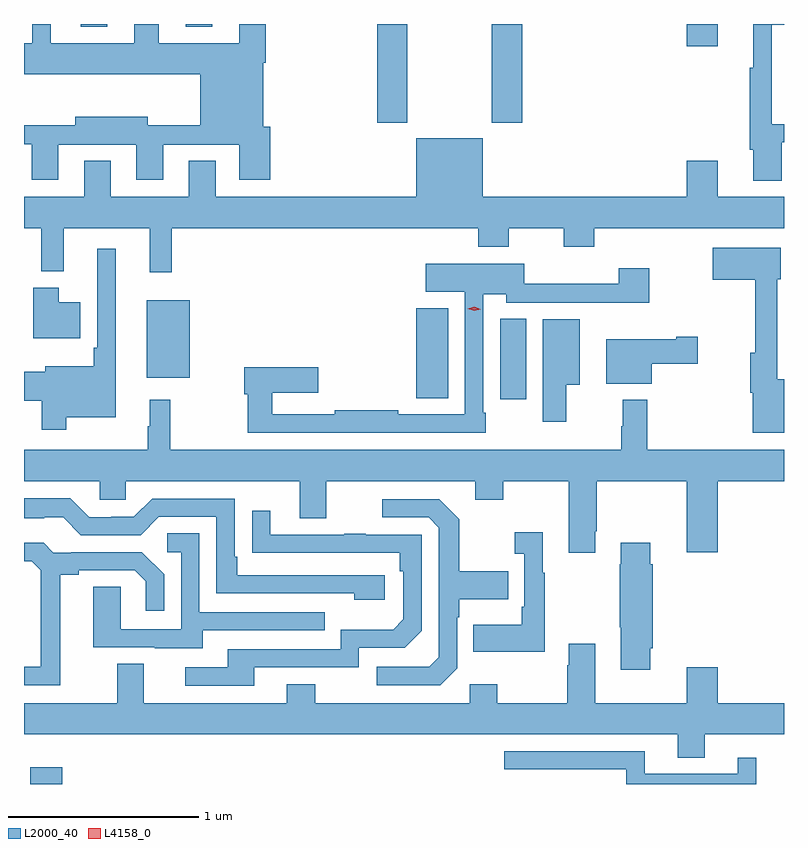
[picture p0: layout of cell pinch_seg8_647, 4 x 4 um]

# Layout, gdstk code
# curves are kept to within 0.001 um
import gdstk
lib = gdstk.Library(unit=1e-6, precision=1e-09)
def R(c, l, rs):  # rectangles x0, y0, x1, y1
    for r in rs: c.add(gdstk.rectangle(r[:2], r[2:], *l))
def P(c, l, *ps):  # polygons
    for p in ps: c.add(gdstk.Polygon(p, *l))
L2000_40 = (2000, 40)
L4158_0 = (4158, 0)

pinch_seg8_647 = lib.new_cell('pinch_seg8_647')
R(pinch_seg8_647, L2000_40, [(245.471,1106.914,245.639,1107.001), (247.943,1108.938,248.08,1109.363), (247.502,1108.945,247.669,1109.419), (246.083,1109.051,246.31,1109.461), (247.295,1110.393,247.455,1110.914), (247.9,1110.393,248.06,1110.914), (248.924,1110.798,249.088,1110.914), (245.735,1110.899,245.875,1110.914), (246.287,1110.899,246.427,1110.914)])
P(pinch_seg8_647, L2000_40, [(249.424,1110.291),(249.437,1110.291),(249.437,1110.387),(249.372,1110.387),(249.372,1110.909),(249.437,1110.909),(249.437,1110.914),(249.275,1110.914),(249.275,1110.684),(249.256,1110.684),(249.256,1110.252),(249.275,1110.252),(249.275,1110.09),(249.424,1110.09)],
  [(245.617,1110.279),(245.823,1110.279),(245.823,1110.278),(246.029,1110.278),(246.029,1110.093),(246.169,1110.093),(246.169,1110.279),(246.569,1110.279),(246.569,1110.093),(246.734,1110.093),(246.734,1110.372),(246.697,1110.372),(246.697,1110.71),(246.71,1110.71),(246.71,1110.914),(246.569,1110.914),(246.569,1110.814),(246.145,1110.814),(246.145,1110.914),(246.017,1110.914),(246.017,1110.814),(245.578,1110.814),(245.578,1110.914),(245.48,1110.914),(245.48,1110.814),(245.437,1110.814),(245.437,1110.65),(246.365,1110.65),(246.365,1110.38),(246.088,1110.38),(246.088,1110.427),(245.708,1110.427),(245.708,1110.38),(245.437,1110.38),(245.437,1110.282),(245.477,1110.282),(245.477,1110.093),(245.617,1110.093)],
  [(246.215,1109.84),(247.829,1109.84),(247.829,1109.741),(247.989,1109.741),(247.989,1109.84),(248.278,1109.84),(248.278,1109.741),(248.438,1109.741),(248.438,1109.84),(249.437,1109.84),(249.437,1110.004),(249.088,1110.004),(249.088,1110.193),(248.924,1110.193),(248.924,1110.004),(247.852,1110.004),(247.852,1110.313),(247.502,1110.313),(247.502,1110.004),(246.445,1110.004),(246.445,1110.194),(246.305,1110.194),(246.305,1110.004),(245.893,1110.004),(245.893,1110.193),(245.753,1110.193),(245.753,1110.004),(245.437,1110.004),(245.437,1109.84),(245.527,1109.84),(245.527,1109.612),(245.645,1109.612),(245.645,1109.84),(246.098,1109.84),(246.098,1109.607),(246.215,1109.607)],
  [(249.437,1109.043),(249.402,1109.043),(249.402,1109.571),(249.421,1109.571),(249.421,1109.737),(249.063,1109.737),(249.063,1109.567),(249.286,1109.567),(249.286,1109.185),(249.26,1109.185),(249.26,1108.974),(249.272,1108.974),(249.272,1108.763),(249.437,1108.763)],
  [(245.659,1108.844),(245.92,1108.844),(245.92,1109.731),(245.823,1109.731),(245.823,1109.209),(245.803,1109.209),(245.803,1109.113),(245.549,1109.113),(245.549,1109.083),(245.437,1109.083),(245.437,1108.931),(245.53,1108.931),(245.53,1108.779),(245.659,1108.779)],
  [(247.867,1108.867),(247.854,1108.867),(247.854,1109.492),(247.974,1109.492),(247.974,1109.448),(248.483,1109.448),(248.483,1109.447),(248.727,1109.447),(248.727,1109.629),(248.567,1109.629),(248.567,1109.546),(248.07,1109.546),(248.07,1109.653),(247.551,1109.653),(247.551,1109.504),(247.758,1109.504),(247.758,1108.86),(247.406,1108.86),(247.406,1108.88),(247.072,1108.88),(247.072,1108.86),(246.743,1108.86),(246.743,1108.973),(246.985,1108.973),(246.985,1109.108),(246.596,1109.108),(246.596,1108.966),(246.615,1108.966),(246.615,1108.764),(247.867,1108.764)],
  [(245.734,1109.449),(245.62,1109.449),(245.62,1109.527),(245.486,1109.527),(245.486,1109.261),(245.734,1109.261)],
  [(248.29,1109.015),(248.362,1109.015),(248.362,1109.359),(248.168,1109.359),(248.168,1108.821),(248.29,1108.821)],
  [(248.74,1109.125),(248.983,1109.125),(248.983,1109.267),(248.87,1109.267),(248.87,1109.254),(248.501,1109.254),(248.501,1109.021),(248.74,1109.021)],
  [(248.443,1108.243),(248.451,1108.243),(248.451,1108.508),(248.924,1108.508),(248.924,1108.134),(249.088,1108.134),(249.088,1108.508),(249.437,1108.508),(249.437,1108.672),(248.717,1108.672),(248.717,1108.936),(248.589,1108.936),(248.589,1108.796),(248.581,1108.796),(248.581,1108.672),(246.208,1108.672),(246.208,1108.936),(246.098,1108.936),(246.098,1108.796),(246.087,1108.796),(246.087,1108.672),(245.437,1108.672),(245.437,1108.508),(245.835,1108.508),(245.835,1108.41),(245.973,1108.41),(245.973,1108.508),(246.887,1108.508),(246.887,1108.314),(247.027,1108.314),(247.027,1108.508),(247.811,1108.508),(247.811,1108.409),(247.959,1108.409),(247.959,1108.508),(248.303,1108.508),(248.303,1108.131),(248.443,1108.131)],
  [(247.336,1108.014),(246.559,1108.014),(246.559,1108.111),(246.546,1108.111),(246.546,1108.416),(246.111,1108.416),(246.015,1108.32),(245.897,1108.32),(245.897,1108.317),(245.781,1108.317),(245.681,1108.417),(245.437,1108.417),(245.437,1108.313),(245.543,1108.313),(245.543,1108.317),(245.643,1108.317),(245.736,1108.224),(246.051,1108.224),(246.147,1108.32),(246.45,1108.32),(246.45,1107.918),(247.175,1107.918),(247.175,1107.884),(247.336,1107.884)],
  [(247.716,1107.522),(247.716,1107.791),(247.729,1107.791),(247.729,1107.887),(247.985,1107.887),(247.985,1108.035),(247.729,1108.035),(247.729,1108.307),(247.623,1108.413),(247.323,1108.413),(247.323,1108.317),(247.566,1108.317),(247.62,1108.263),(247.62,1107.582),(247.569,1107.531),(247.293,1107.531),(247.293,1107.435),(247.629,1107.435)],
  [(246.649,1107.528),(247.2,1107.528),(247.2,1107.63),(247.44,1107.63),(247.53,1107.72),(247.53,1108.227),(247.235,1108.227),(247.235,1108.232),(247.123,1108.232),(247.123,1108.227),(246.733,1108.227),(246.733,1108.351),(246.637,1108.351),(246.637,1108.132),(247.414,1108.131),(247.414,1108.034),(247.434,1108.034),(247.434,1107.78),(247.381,1107.727),(247.104,1107.727),(247.104,1107.624),(246.509,1107.624),(246.509,1107.528),(246.285,1107.528),(246.285,1107.432),(246.649,1107.432)],
  [(248.179,1108.027),(248.167,1108.027),(248.167,1108.24),(248.019,1108.24),(248.019,1108.127),(248.07,1108.127),(248.07,1107.847),(248.058,1107.847),(248.058,1107.751),(247.801,1107.751),(247.801,1107.611),(248.179,1107.611)],
  [(246.379,1107.723),(247.019,1107.723),(247.019,1107.819),(246.36,1107.819),(246.36,1108.235),(246.192,1108.235),(246.192,1108.134),(246.264,1108.134),(246.264,1107.729),(245.946,1107.729),(245.946,1107.953),(245.801,1107.953),(245.801,1107.633),(246.125,1107.633),(246.125,1107.629),(246.379,1107.629)],
  [(248.734,1107.628),(248.747,1107.628),(248.747,1108.07),(248.734,1108.07),(248.734,1108.183),(248.579,1108.183),(248.579,1108.07),(248.572,1108.07),(248.572,1107.739),(248.579,1107.739),(248.579,1107.516),(248.734,1107.516)],
  [(245.629,1108.016),(245.725,1108.016),(245.725,1108.038),(246.02,1108.038),(246.077,1107.981),(246.077,1107.825),(246.174,1107.825),(246.174,1108.018),(246.058,1108.134),(245.686,1108.134),(245.686,1108.131),(245.592,1108.131),(245.54,1108.183),(245.437,1108.183),(245.437,1108.086),(245.478,1108.086),(245.525,1108.039),(245.525,1107.531),(245.437,1107.531),(245.437,1107.435),(245.629,1107.435)],
  [(249.019,1107.176),(249.437,1107.176),(249.437,1107.34),(249.088,1107.34),(249.088,1107.529),(248.924,1107.529),(248.924,1107.34),(248.443,1107.34),(248.443,1107.652),(248.303,1107.652),(248.303,1107.539),(248.296,1107.539),(248.296,1107.34),(247.929,1107.34),(247.929,1107.439),(247.782,1107.439),(247.782,1107.34),(246.969,1107.34),(246.969,1107.439),(246.821,1107.439),(246.821,1107.34),(246.067,1107.34),(246.067,1107.548),(245.927,1107.548),(245.927,1107.34),(245.437,1107.34),(245.437,1107.176),(248.879,1107.176),(248.879,1107.052),(249.019,1107.052)],
  [(249.292,1107.052),(249.194,1107.052),(249.194,1106.967),(248.704,1106.967),(248.704,1107.087),(247.965,1107.087),(247.965,1106.991),(248.606,1106.991),(248.606,1106.914),(249.292,1106.914)])
P(pinch_seg8_647, L4158_0, [(247.807,1109.405),(247.772,1109.415),(247.772,1109.415),(247.772,1109.416),(247.807,1109.425),(247.842,1109.414),(247.842,1109.414),(247.842,1109.414)])

lib.write_gds('pinch_seg8_647.gds')
